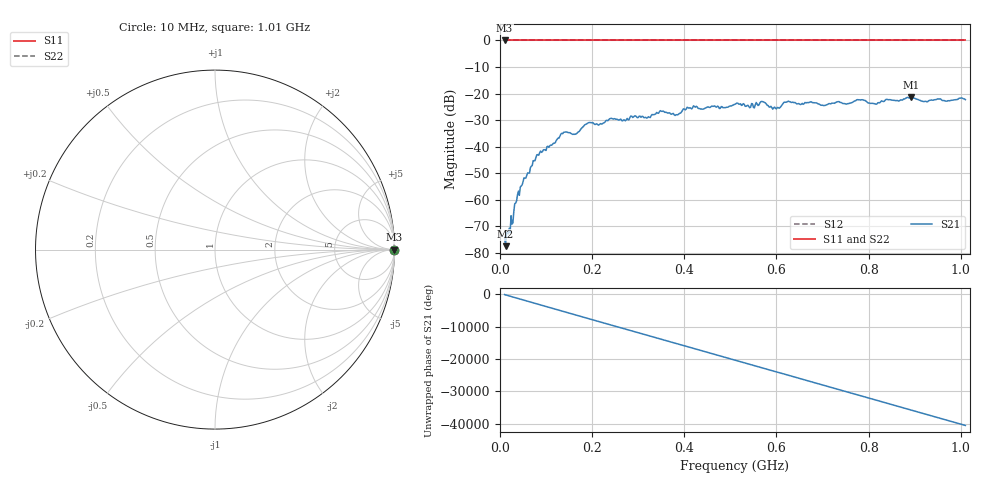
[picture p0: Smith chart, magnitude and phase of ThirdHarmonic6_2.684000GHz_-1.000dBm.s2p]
! 8/17/2025 6:19:42 AM
! C:\ANRITSUVNA\TEMP\TEMP.S2P
! CHANNEL.1
! TR.MEASUREMENT
! RAW.DATA
! RF.CORRECTION.OFF
! AVERAGING.OFF
! IF.BANDWIDTH: 5KHZ
! SWEEPTYPE:  FREQ.SWEEP(Linear)
! Reference Plane Port Info
! PORT:  PORT1  PORT2
! DISTANCE:  0  m  0  m
! TIME:  0  s  0  s
! PHASE.OFFSET:  0  deg.  0  deg.
! LOSS:  0  dB  0  dB
! REF.LOSS:  0  dB  0  dB
! REF.FREQ:  0  Hz  0  Hz
! Power Info
! POWER:  -20  dBm  -20  dBm
! EFF.POWER:  -20  dBm  -20  dBm
! SOURCE.ATTEN:  0  dB  0  dB
! TEST.ATTEN:  0  dB  0  dB
# GHZ S RI R 50.0
! FREQ.GHZ  S11RE  S11IM  S21RE  S21IM  S12RE  S12IM  S22RE  S22IM
!; PortSelection: Port_12
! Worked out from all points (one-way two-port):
!   501 points, 10 MHz to 1.01 GHz, reference 50 ohm
!   highest |S21| = -21.44 dB at 892 MHz (marker M1); lowest = -77.5 dB at 12 MHz (marker M2)
!   lowest |S11| = 0.0 dB at 10 MHz (marker M3)
!   |S11| at or under -10 dB: nowhere
!   |S22| runs from 0.0 to 0.0 dB; largest |S21 - S12| = 1.1
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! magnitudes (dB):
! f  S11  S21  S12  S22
! 10 MHz  0.0  -73.8  0.0  0.0
! 12 MHz  0.0  -77.5  0.0  0.0
! 24 MHz  0.0  -66.0  0.0  0.0
! 36 MHz  0.0  -60.4  0.0  0.0
! 48 MHz  0.0  -54.4  0.0  0.0
! 76 MHz  0.0  -45.3  0.0  0.0
! 136 MHz  0.0  -35.1  0.0  0.0
! 162 MHz  0.0  -35.4  0.0  0.0
! 178 MHz  0.0  -32.9  0.0  0.0
! 344 MHz  0.0  -27.4  0.0  0.0
! 382 MHz  0.0  -28.0  0.0  0.0
! 422 MHz  0.0  -24.9  0.0  0.0
! 510 MHz  0.0  -24.0  0.0  0.0
! 570 MHz  0.0  -23.0  0.0  0.0
! 596 MHz  0.0  -25.1  0.0  0.0
! 622 MHz  0.0  -23.2  0.0  0.0
! 678 MHz  0.0  -23.4  0.0  0.0
! 784 MHz  0.0  -22.3  0.0  0.0
! 814 MHz  0.0  -23.9  0.0  0.0
! 844 MHz  0.0  -22.3  0.0  0.0
! 892 MHz  0.0  -21.4  0.0  0.0
! 1.01 GHz  0.0  -22.3  0.0  0.0
